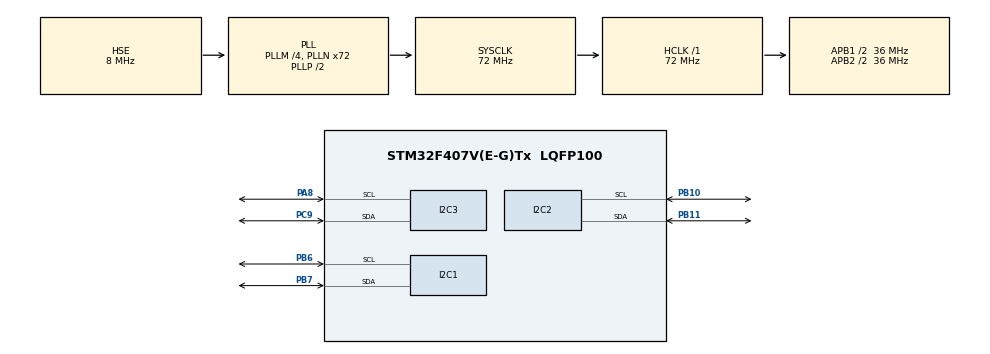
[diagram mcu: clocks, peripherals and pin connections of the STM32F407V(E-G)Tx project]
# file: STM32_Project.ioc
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Mcu.Family=STM32F4
Mcu.Name=STM32F407V(E-G)Tx
Mcu.Package=LQFP100
NVIC.PriorityGroup=NVIC_PRIORITYGROUP_0
PA8.Mode=I2C
PA8.Signal=I2C3_SCL
PB10.Mode=I2C
PB10.Signal=I2C2_SCL
PB11.Mode=I2C
PB11.Signal=I2C2_SDA
PB6.Mode=I2C
PB6.Signal=I2C1_SCL
PB7.Mode=I2C
PB7.Signal=I2C1_SDA
PC9.Mode=I2C
PC9.Signal=I2C3_SDA
PH0-OSC_IN.Mode=HSE-External-Oscillator
PH0-OSC_IN.Signal=RCC_OSC_IN
PH1-OSC_OUT.Mode=HSE-External-Oscillator
PH1-OSC_OUT.Signal=RCC_OSC_OUT
ProjectManager.HeapSize=0x200
ProjectManager.StackSize=0x400
ProjectManager.TargetToolchain=STM32CubeIDE
RCC.48MHZClocksFreq_Value=20571428.57142857
RCC.AHBFreq_Value=72000000
RCC.APB1CLKDivider=RCC_HCLK_DIV2
RCC.APB1Freq_Value=36000000
RCC.APB1TimFreq_Value=72000000
RCC.APB2CLKDivider=RCC_HCLK_DIV2
RCC.APB2Freq_Value=36000000
RCC.APB2TimFreq_Value=72000000
RCC.CortexFreq_Value=72000000
RCC.HCLKFreq_Value=72000000
RCC.HSE_VALUE=8000000
RCC.HSI_VALUE=16000000
RCC.LSE_VALUE=32768
RCC.PLLM=4
RCC.PLLN=72
RCC.PLLQ=7
RCC.PLLSourceVirtual=RCC_PLLSOURCE_HSE
RCC.SYSCLKFreq_VALUE=72000000
RCC.SYSCLKSource=RCC_SYSCLKSOURCE_PLLCLK
RCC.VCOOutputFreq_Value=144000000
board=STM32F407G-DISC1

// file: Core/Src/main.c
/* USER CODE BEGIN Header */
/**
  ******************************************************************************
  * @file           : main.c
  * @brief          : Main program body
  ******************************************************************************
  * @attention
  *
  * <h2><center>&copy; Copyright (c) 2021 STMicroelectronics.
  * All rights reserved.</center></h2>
  *
  * This software component is licensed by ST under BSD 3-Clause license,
  * the "License"; You may not use this file except in compliance with the
  * License. You may obtain a copy of the License at:
  *                        opensource.org/licenses/BSD-3-Clause
  *
  ******************************************************************************
  */
/* USER CODE END Header */
#include "main.h"
#include "i2c-lcd.h"
#include <string.h>
#include <stdio.h>

I2C_HandleTypeDef hi2c1;
I2C_HandleTypeDef hi2c2;
I2C_HandleTypeDef hi2c3;

void SystemClock_Config(void);
static void MX_GPIO_Init(void);
static void MX_I2C1_Init(void);
static void MX_I2C2_Init(void);
static void MX_I2C3_Init(void);

/* USER CODE BEGIN 0 */
/*Datos*/
uint8_t TxBuffer=5;
uint8_t RxBuffer;
uint32_t tiempo1;
int datoleido;
char *numero_pantalla;
/*FPGA ADDR*/
#define WRITE_ADDR 0x06
#define READ_ADDR 0x07
/*MPU ADDR*/
#define MPU6050_ADDR 0xD0

#define SMPLRT_DIV_REG 0x19
#define GYRO_CONFIG_REG 0x1B
#define ACCEL_CONFIG_REG 0x1C
#define ACCEL_XOUT_H_REG 0x3B
#define TEMP_OUT_H_REG 0x41
#define GYRO_XOUT_H_REG 0x43
#define PWR_MGMT_1_REG 0x6B
#define WHO_AM_I_REG 0x75

#define RAD_A_DEG 57.295779

int16_t Accel_X_RAW = 0;
int16_t Accel_Y_RAW = 0;
int16_t Accel_Z_RAW = 0;

int16_t Gyro_X_RAW = 0;
int16_t Gyro_Y_RAW = 0;
int16_t Gyro_Z_RAW = 0;

float Ax, Ay, Az, Gx, Gy, Gz;
float Acc[2],Angle[2];

//Datos que mandamos por I2C a la FPGA
uint8_t dato2send[2];

//Texto para la pantalla LCD
char* linea1LCD, *linea2LCD;

void MPU6050_Init (void)
{
	uint8_t check;
	uint8_t Data;

	// leemos el registro del dispositivo ID WHO_AM_I

	HAL_I2C_Mem_Read (&hi2c1, MPU6050_ADDR,WHO_AM_I_REG,1, &check, 1, 1000);

	if (check == 104)  // 0x68 se devolverá si todo va bien
	{
		// power management register 0X6B escribimos 0's para despertar al sensor
		Data = 0;
		HAL_I2C_Mem_Write(&hi2c1, MPU6050_ADDR, PWR_MGMT_1_REG, 1,&Data, 1, 1000);

		// Data de salida 1KHz escribimos en SMPLRT_DIV register
		Data = 0x07;
		HAL_I2C_Mem_Write(&hi2c1, MPU6050_ADDR, SMPLRT_DIV_REG, 1, &Data, 1, 1000);

		// Configuramos el acelerometro en ACCEL_CONFIG Register
		// XA_ST=0,YA_ST=0,ZA_ST=0, FS_SEL=0 -> ± 2g
		Data = 0x00;
		HAL_I2C_Mem_Write(&hi2c1, MPU6050_ADDR, ACCEL_CONFIG_REG, 1, &Data, 1, 1000);

		// Configuramos el giroscopio GYRO_CONFIG Register
		// XG_ST=0,YG_ST=0,ZG_ST=0, FS_SEL=0 -> ± 250 °/s
		Data = 0x00;
		HAL_I2C_Mem_Write(&hi2c1, MPU6050_ADDR, GYRO_CONFIG_REG, 1, &Data, 1, 1000);
	}

}

void MPU6050_Read_Accel (void)
{
	uint8_t Rec_Data[6];

	// Leemos 6 BYTES de datos comenzando por ACCEL_XOUT_H register

	HAL_I2C_Mem_Read (&hi2c1, MPU6050_ADDR, ACCEL_XOUT_H_REG, 1, Rec_Data, 6, 1000);
	Accel_X_RAW = (int16_t)(Rec_Data[0] << 8 | Rec_Data [1]);
	Accel_Y_RAW = (int16_t)(Rec_Data[2] << 8 | Rec_Data [3]);
	Accel_Z_RAW = (int16_t)(Rec_Data[4] << 8 | Rec_Data [5]);
	/***Convertimos los valores crudos o RAW en aceleración en 'g'
	 * 	Tenemos que dividir de acuerdo a la escala seleccionada en FS_SEL
	 * 	Como hemos configura FS_SEL=0. Lo dividiremos entre 16384.0
	 ***/

	Ax = Accel_X_RAW/16384.0;
	Ay = Accel_Y_RAW/16384.0;
	Az = Accel_Z_RAW/16384.0;

	Acc[1]=atan(-Ax/sqrt(pow(Ay,2)+pow(Az,2)))*RAD_A_DEG;
	Acc[0]=atan(-Ay/sqrt(pow(Ax,2)+pow(Az,2)))*RAD_A_DEG;

}

void MPU6050_Read_Gyro (void)
{
	uint8_t Rec_Data[6];
	uint8_t result=0;
	// Leemos 6 BYTES de datos comenzando por GYRO_XOUT_H register
	HAL_I2C_Mem_Read (&hi2c1, MPU6050_ADDR, GYRO_XOUT_H_REG, 1, Rec_Data, 6, HAL_MAX_DELAY);

	Gyro_X_RAW = (int16_t)(Rec_Data[0] << 8 | Rec_Data [1]);
	Gyro_Y_RAW = (int16_t)(Rec_Data[2] << 8 | Rec_Data [3]);
	Gyro_Z_RAW = (int16_t)(Rec_Data[4] << 8 | Rec_Data [5]);

	/***Convertimos los valores crudos o RAW en dps (°/s)
		 * 	Tenemos que dividir de acuerdo a la escala seleccionada en FS_SEL
		 * 	Como hemos configurado FS_SEL=0. Lo dividiremos entre 131.0
		 ***/

	Gx = Gyro_X_RAW/131.0;
	Gy = Gyro_Y_RAW/131.0;
	Gz = Gyro_Z_RAW/131.0;
	//Filtro paso Banda, 2% aceleración y 98% angulo, debería dar el giro
	Angle[0]=0.95*(Angle[0]+Gx*0.03)+0.05*Acc[0];
	Angle[1]=0.95*(Angle[1]+Gy*0.03)+0.05*Acc[1];
	//Convertimos los valores en enteros de 8 bits acotados a 255
	result=dato2send[1];
	dato2send[0]=((Angle[0]+90)*250/180);
	dato2send[1]=((Angle[1]+90)*250/180);

	if(abs(result-dato2send[1])>25)
		dato2send[1]=result;

	if(dato2send[0]>250)
		dato2send[0]=250;
	else if(dato2send[0]<0)
		dato2send[0]=0;

	if(dato2send[1]>250)
			dato2send[1]=250;
		else if(dato2send[1]<0)
			dato2send[1]=0;
}

void imprimir_LCD(){
	char str[16]="                ";
		if((HAL_GetTick()-tiempo1)>100){
			tiempo1=HAL_GetTick();
			numero_pantalla=str;
		//	numero_pantalla[2]=' ';
			  datoleido=(RxBuffer*180/250)-90;
			  sprintf(numero_pantalla,"%d grados  ",datoleido);
				  linea1LCD = "Servo FPGA:     ";
				  linea2LCD = numero_pantalla;

			  lcd_put_cur(0, 0);
			  lcd_send_string(linea1LCD);

			  lcd_put_cur(1, 0);
			  lcd_send_string(linea2LCD);

	}
}
/* USER CODE END 0 */

int main(void)
{

  /* MCU Configuration--------------------------------------------------------*/

  /* Reset of all peripherals, Initializes the Flash interface and the Systick. */
  HAL_Init();

  /* Configure the system clock */
  SystemClock_Config();

  /* Initialize all configured peripherals */
  MX_GPIO_Init();
  MX_I2C1_Init();
  MX_I2C2_Init();
  MX_I2C3_Init();
  /* USER CODE BEGIN 2 */
tiempo1=HAL_GetTick();
MPU6050_Init();

  lcd_init();
  /* USER CODE END 2 */

  /* Infinite loop */
  while (1)
  {

    /* USER CODE BEGIN 3 */
	  MPU6050_Read_Accel();
	  	MPU6050_Read_Gyro();
	  HAL_I2C_Master_Transmit(&hi2c2, WRITE_ADDR, &dato2send[1], 1, 1000);
	  HAL_I2C_Master_Receive(&hi2c2, READ_ADDR, &RxBuffer, 1, 1000);
	  imprimir_LCD();
	  	HAL_Delay(10);
  }
  /* USER CODE END 3 */
}

void SystemClock_Config(void)
{
  RCC_OscInitTypeDef RCC_OscInitStruct = {0};
  RCC_ClkInitTypeDef RCC_ClkInitStruct = {0};

  /** Configure the main internal regulator output voltage
  */
  __HAL_RCC_PWR_CLK_ENABLE();
  __HAL_PWR_VOLTAGESCALING_CONFIG(PWR_REGULATOR_VOLTAGE_SCALE1);
  /** Initializes the RCC Oscillators according to the specified parameters
  * in the RCC_OscInitTypeDef structure.
  */
  RCC_OscInitStruct.OscillatorType = RCC_OSCILLATORTYPE_HSE;
  RCC_OscInitStruct.HSEState = RCC_HSE_ON;
  RCC_OscInitStruct.PLL.PLLState = RCC_PLL_ON;
  RCC_OscInitStruct.PLL.PLLSource = RCC_PLLSOURCE_HSE;
  RCC_OscInitStruct.PLL.PLLM = 4;
  RCC_OscInitStruct.PLL.PLLN = 72;
  RCC_OscInitStruct.PLL.PLLP = RCC_PLLP_DIV2;
  RCC_OscInitStruct.PLL.PLLQ = 7;
  if (HAL_RCC_OscConfig(&RCC_OscInitStruct) != HAL_OK)
  {
    Error_Handler();
  }
  /** Initializes the CPU, AHB and APB buses clocks
  */
  RCC_ClkInitStruct.ClockType = RCC_CLOCKTYPE_HCLK|RCC_CLOCKTYPE_SYSCLK
                              |RCC_CLOCKTYPE_PCLK1|RCC_CLOCKTYPE_PCLK2;
  RCC_ClkInitStruct.SYSCLKSource = RCC_SYSCLKSOURCE_PLLCLK;
  RCC_ClkInitStruct.AHBCLKDivider = RCC_SYSCLK_DIV1;
  RCC_ClkInitStruct.APB1CLKDivider = RCC_HCLK_DIV2;
  RCC_ClkInitStruct.APB2CLKDivider = RCC_HCLK_DIV2;

  if (HAL_RCC_ClockConfig(&RCC_ClkInitStruct, FLASH_LATENCY_2) != HAL_OK)
  {
    Error_Handler();
  }
}

static void MX_I2C1_Init(void)
{

  hi2c1.Instance = I2C1;
  hi2c1.Init.ClockSpeed = 100000;
  hi2c1.Init.DutyCycle = I2C_DUTYCYCLE_2;
  hi2c1.Init.OwnAddress1 = 0;
  hi2c1.Init.AddressingMode = I2C_ADDRESSINGMODE_7BIT;
  hi2c1.Init.DualAddressMode = I2C_DUALADDRESS_DISABLE;
  hi2c1.Init.OwnAddress2 = 0;
  hi2c1.Init.GeneralCallMode = I2C_GENERALCALL_DISABLE;
  hi2c1.Init.NoStretchMode = I2C_NOSTRETCH_DISABLE;
  if (HAL_I2C_Init(&hi2c1) != HAL_OK)
  {
    Error_Handler();
  }

}

static void MX_I2C2_Init(void)
{

  hi2c2.Instance = I2C2;
  hi2c2.Init.ClockSpeed = 100000;
  hi2c2.Init.DutyCycle = I2C_DUTYCYCLE_2;
  hi2c2.Init.OwnAddress1 = 0;
  hi2c2.Init.AddressingMode = I2C_ADDRESSINGMODE_7BIT;
  hi2c2.Init.DualAddressMode = I2C_DUALADDRESS_DISABLE;
  hi2c2.Init.OwnAddress2 = 0;
  hi2c2.Init.GeneralCallMode = I2C_GENERALCALL_DISABLE;
  hi2c2.Init.NoStretchMode = I2C_NOSTRETCH_DISABLE;
  if (HAL_I2C_Init(&hi2c2) != HAL_OK)
  {
    Error_Handler();
  }

}

static void MX_I2C3_Init(void)
{

  hi2c3.Instance = I2C3;
  hi2c3.Init.ClockSpeed = 100000;
  hi2c3.Init.DutyCycle = I2C_DUTYCYCLE_2;
  hi2c3.Init.OwnAddress1 = 0;
  hi2c3.Init.AddressingMode = I2C_ADDRESSINGMODE_7BIT;
  hi2c3.Init.DualAddressMode = I2C_DUALADDRESS_DISABLE;
  hi2c3.Init.OwnAddress2 = 0;
  hi2c3.Init.GeneralCallMode = I2C_GENERALCALL_DISABLE;
  hi2c3.Init.NoStretchMode = I2C_NOSTRETCH_DISABLE;
  if (HAL_I2C_Init(&hi2c3) != HAL_OK)
  {
    Error_Handler();
  }

}

static void MX_GPIO_Init(void)
{

  /* GPIO Ports Clock Enable */
  __HAL_RCC_GPIOH_CLK_ENABLE();
  __HAL_RCC_GPIOB_CLK_ENABLE();
  __HAL_RCC_GPIOC_CLK_ENABLE();
  __HAL_RCC_GPIOA_CLK_ENABLE();

}

void Error_Handler(void)
{
  __disable_irq();
  while (1)
  {
  }
}

/************************ (C) COPYRIGHT STMicroelectronics *****END OF FILE****/
